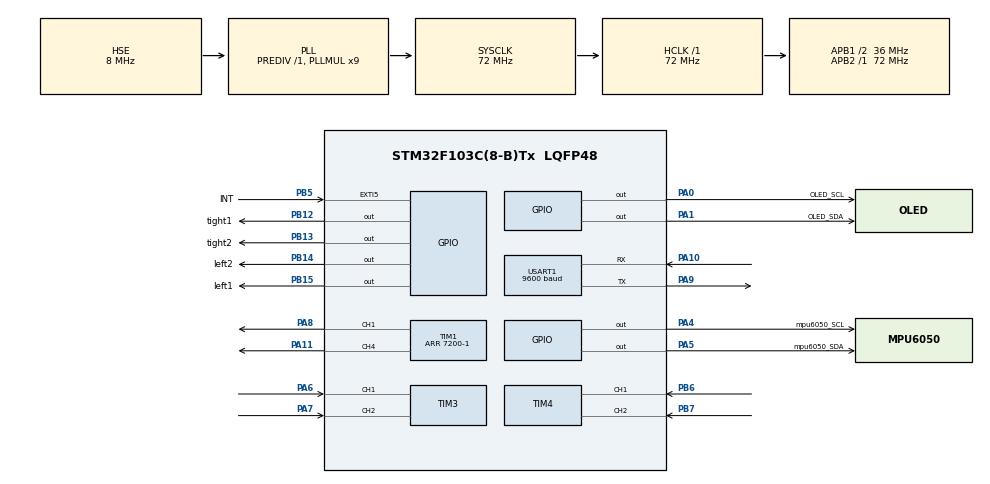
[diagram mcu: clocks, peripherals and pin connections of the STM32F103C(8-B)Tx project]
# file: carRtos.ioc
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Dma.Request0=USART1_RX
Dma.Request1=USART1_TX
Dma.USART1_RX.0.Direction=DMA_PERIPH_TO_MEMORY
Dma.USART1_RX.0.Instance=DMA1_Channel5
Dma.USART1_RX.0.MemDataAlignment=DMA_MDATAALIGN_BYTE
Dma.USART1_RX.0.MemInc=DMA_MINC_ENABLE
Dma.USART1_RX.0.Mode=DMA_NORMAL
Dma.USART1_RX.0.PeriphDataAlignment=DMA_PDATAALIGN_BYTE
Dma.USART1_RX.0.PeriphInc=DMA_PINC_DISABLE
Dma.USART1_RX.0.Priority=DMA_PRIORITY_LOW
Dma.USART1_TX.1.Direction=DMA_MEMORY_TO_PERIPH
Dma.USART1_TX.1.Instance=DMA1_Channel4
Dma.USART1_TX.1.MemDataAlignment=DMA_MDATAALIGN_BYTE
Dma.USART1_TX.1.MemInc=DMA_MINC_ENABLE
Dma.USART1_TX.1.Mode=DMA_NORMAL
Dma.USART1_TX.1.PeriphDataAlignment=DMA_PDATAALIGN_BYTE
Dma.USART1_TX.1.PeriphInc=DMA_PINC_DISABLE
Dma.USART1_TX.1.Priority=DMA_PRIORITY_LOW
FREERTOS.INCLUDE_uxTaskGetStackHighWaterMark=1
FREERTOS.INCLUDE_vTaskDelayUntil=1
FREERTOS.Queues01=myQueue01,1,float,0,Dynamic,NULL,NULL;myQueue02,1,float,0,Dynamic,NULL,NULL;myQueue03,1,float,0,Dynamic,NULL,NULL;myQueue04,1,short,0,Dynamic,NULL,NULL;myQueue05,1,short,0,Dynamic,NULL,NULL;myQueue06,1,short,0,Dynamic,NULL,NULL;myQueue07,1,int8_t,0,Dynamic,NULL,NULL
FREERTOS.Tasks01=defaultTask,0,128,StartDefaultTask,Default,NULL,Dynamic,NULL,NULL;LED1,3,200,StartTask02,Default,NULL,Dynamic,NULL,NULL;myTask03,-1,128,StartTask03,Default,NULL,Dynamic,NULL,NULL
FREERTOS.configTOTAL_HEAP_SIZE=3500
Mcu.Family=STM32F1
Mcu.Name=STM32F103C(8-B)Tx
Mcu.Package=LQFP48
NVIC.DMA1_Channel4_IRQn=true\:5\:0\:false\:false\:true\:true\:false\:true\:true
NVIC.DMA1_Channel5_IRQn=true\:5\:0\:false\:false\:true\:true\:false\:true\:true
NVIC.EXTI9_5_IRQn=true\:5\:0\:false\:false\:true\:true\:true\:true\:true
NVIC.PriorityGroup=NVIC_PRIORITYGROUP_4
NVIC.TIM2_IRQn=true\:15\:0\:false\:false\:true\:false\:false\:true\:true
NVIC.TIM3_IRQn=true\:5\:0\:false\:false\:true\:true\:true\:true\:true
NVIC.TIM4_IRQn=true\:5\:0\:false\:false\:true\:true\:true\:true\:true
NVIC.TimeBase=TIM2_IRQn
NVIC.TimeBaseIP=TIM2
NVIC.USART1_IRQn=true\:5\:0\:false\:false\:true\:true\:true\:true\:true
PA0-WKUP.GPIO_Label=OLED_SCL
PA0-WKUP.GPIO_ModeDefaultOutputPP=GPIO_MODE_OUTPUT_OD
PA0-WKUP.GPIO_PuPd=GPIO_PULLUP
PA0-WKUP.GPIO_Speed=GPIO_SPEED_FREQ_HIGH
PA0-WKUP.PinState=GPIO_PIN_SET
PA0-WKUP.Signal=GPIO_Output
PA1.GPIO_Label=OLED_SDA
PA1.GPIO_ModeDefaultOutputPP=GPIO_MODE_OUTPUT_OD
PA1.GPIO_PuPd=GPIO_PULLUP
PA1.GPIO_Speed=GPIO_SPEED_FREQ_HIGH
PA1.PinState=GPIO_PIN_SET
PA1.Signal=GPIO_Output
PA10.Mode=Asynchronous
PA10.Signal=USART1_RX
PA11.Signal=S_TIM1_CH4
PA4.GPIO_Label=mpu6050_SCL
PA4.GPIO_ModeDefaultOutputPP=GPIO_MODE_OUTPUT_OD
PA4.GPIO_PuPd=GPIO_PULLUP
PA4.GPIO_Speed=GPIO_SPEED_FREQ_HIGH
PA4.PinState=GPIO_PIN_SET
PA4.Signal=GPIO_Output
PA5.GPIO_Label=mpu6050_SDA
PA5.GPIO_ModeDefaultOutputPP=GPIO_MODE_OUTPUT_OD
PA5.GPIO_PuPd=GPIO_PULLUP
PA5.GPIO_Speed=GPIO_SPEED_FREQ_HIGH
PA5.PinState=GPIO_PIN_SET
PA5.Signal=GPIO_Output
PA6.Signal=S_TIM3_CH1
PA7.Signal=S_TIM3_CH2
PA8.Signal=S_TIM1_CH1
PA9.Mode=Asynchronous
PA9.Signal=USART1_TX
PB12.GPIO_Label=tight1
PB12.GPIO_PuPd=GPIO_PULLUP
PB12.GPIO_Speed=GPIO_SPEED_FREQ_LOW
PB12.Signal=GPIO_Output
PB13.GPIO_Label=tight2
PB13.GPIO_PuPd=GPIO_PULLUP
PB13.Signal=GPIO_Output
PB14.GPIO_Label=left2
PB14.GPIO_PuPd=GPIO_PULLUP
PB14.Signal=GPIO_Output
PB15.GPIO_Label=left1
PB15.GPIO_PuPd=GPIO_PULLUP
PB15.Signal=GPIO_Output
PB5.GPIO_Label=INT
PB5.GPIO_ModeDefaultEXTI=GPIO_MODE_IT_FALLING
PB5.GPIO_PuPd=GPIO_PULLUP
PB5.Signal=GPXTI5
PB6.Signal=S_TIM4_CH1
PB7.Signal=S_TIM4_CH2
PD0-OSC_IN.Mode=HSE-External-Oscillator
PD0-OSC_IN.Signal=RCC_OSC_IN
PD1-OSC_OUT.Mode=HSE-External-Oscillator
PD1-OSC_OUT.Signal=RCC_OSC_OUT
ProjectManager.HeapSize=0x200
ProjectManager.StackSize=0x400
ProjectManager.TargetToolchain=MDK-ARM V5.32
RCC.AHBFreq_Value=72000000
RCC.APB1CLKDivider=RCC_HCLK_DIV2
RCC.APB1Freq_Value=36000000
RCC.APB1TimFreq_Value=72000000
RCC.APB2Freq_Value=72000000
RCC.APB2TimFreq_Value=72000000
RCC.HCLKFreq_Value=72000000
RCC.PLLMUL=RCC_PLL_MUL9
RCC.PLLSourceVirtual=RCC_PLLSOURCE_HSE
RCC.SYSCLKFreq_VALUE=72000000
RCC.SYSCLKSource=RCC_SYSCLKSOURCE_PLLCLK
RCC.USBFreq_Value=72000000
SH.S_TIM1_CH1.0=TIM1_CH1,PWM Generation1 CH1
SH.S_TIM1_CH4.0=TIM1_CH4,PWM Generation4 CH4
SH.S_TIM3_CH1.0=TIM3_CH1,Encoder_Interface
SH.S_TIM3_CH2.0=TIM3_CH2,Encoder_Interface
SH.S_TIM4_CH1.0=TIM4_CH1,Encoder_Interface
SH.S_TIM4_CH2.0=TIM4_CH2,Encoder_Interface
TIM1.Channel-PWM\ Generation1\ CH1=TIM_CHANNEL_1
TIM1.Channel-PWM\ Generation4\ CH4=TIM_CHANNEL_4
TIM1.Period=7200-1
USART1.BaudRate=9600
USART1.VirtualMode=VM_ASYNC
VP_FREERTOS_VS_CMSIS_V1.Mode=CMSIS_V1
VP_SYS_VS_ND.Mode=No_Debug
VP_SYS_VS_tim2.Mode=TIM2
VP_TIM1_VS_ClockSourceINT.Mode=Internal
board=custom

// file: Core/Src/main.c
/* USER CODE BEGIN Header */
/**
  ******************************************************************************
  * @file           : main.c
  * @brief          : Main program body
  ******************************************************************************
  * @attention
  *
  * Copyright (c) 2024 STMicroelectronics.
  * All rights reserved.
  *
  * This software is licensed under terms that can be found in the LICENSE file
  * in the root directory of this software component.
  * If no LICENSE file comes with this software, it is provided AS-IS.
  *
  ******************************************************************************
  */
/* USER CODE END Header */
#include "main.h"
#include "cmsis_os.h"
#include "dma.h"
#include "tim.h"
#include "usart.h"
#include "gpio.h"

void SystemClock_Config(void);
void MX_FREERTOS_Init(void);

int main(void)
{

  /* MCU Configuration--------------------------------------------------------*/

  /* Reset of all peripherals, Initializes the Flash interface and the Systick. */
  HAL_Init();

  /* Configure the system clock */
  SystemClock_Config();

  /* Initialize all configured peripherals */
  MX_GPIO_Init();
  MX_DMA_Init();
  MX_TIM1_Init();
  MX_TIM3_Init();
  MX_TIM4_Init();
  MX_USART1_UART_Init();

  /* Call init function for freertos objects (in cmsis_os2.c) */
  MX_FREERTOS_Init();

  /* Start scheduler */
  osKernelStart();

  /* We should never get here as control is now taken by the scheduler */

  /* Infinite loop */
  while (1)
  {

  }
}

void SystemClock_Config(void)
{
  RCC_OscInitTypeDef RCC_OscInitStruct = {0};
  RCC_ClkInitTypeDef RCC_ClkInitStruct = {0};

  /** Initializes the RCC Oscillators according to the specified parameters
  * in the RCC_OscInitTypeDef structure.
  */
  RCC_OscInitStruct.OscillatorType = RCC_OSCILLATORTYPE_HSE;
  RCC_OscInitStruct.HSEState = RCC_HSE_ON;
  RCC_OscInitStruct.HSEPredivValue = RCC_HSE_PREDIV_DIV1;
  RCC_OscInitStruct.HSIState = RCC_HSI_ON;
  RCC_OscInitStruct.PLL.PLLState = RCC_PLL_ON;
  RCC_OscInitStruct.PLL.PLLSource = RCC_PLLSOURCE_HSE;
  RCC_OscInitStruct.PLL.PLLMUL = RCC_PLL_MUL9;
  if (HAL_RCC_OscConfig(&RCC_OscInitStruct) != HAL_OK)
  {
    Error_Handler();
  }

  /** Initializes the CPU, AHB and APB buses clocks
  */
  RCC_ClkInitStruct.ClockType = RCC_CLOCKTYPE_HCLK|RCC_CLOCKTYPE_SYSCLK
                              |RCC_CLOCKTYPE_PCLK1|RCC_CLOCKTYPE_PCLK2;
  RCC_ClkInitStruct.SYSCLKSource = RCC_SYSCLKSOURCE_PLLCLK;
  RCC_ClkInitStruct.AHBCLKDivider = RCC_SYSCLK_DIV1;
  RCC_ClkInitStruct.APB1CLKDivider = RCC_HCLK_DIV2;
  RCC_ClkInitStruct.APB2CLKDivider = RCC_HCLK_DIV1;

  if (HAL_RCC_ClockConfig(&RCC_ClkInitStruct, FLASH_LATENCY_2) != HAL_OK)
  {
    Error_Handler();
  }
}

void HAL_TIM_PeriodElapsedCallback(TIM_HandleTypeDef *htim)
{
  if (htim->Instance == TIM2) {
    HAL_IncTick();
  }
}

void Error_Handler(void)
{
  __disable_irq();
  while (1)
  {
  }
}

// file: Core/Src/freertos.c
/* USER CODE BEGIN Header */
/**
  ******************************************************************************
  * File Name          : freertos.c
  * Description        : Code for freertos applications
  ******************************************************************************
  * @attention
  *
  * Copyright (c) 2024 STMicroelectronics.
  * All rights reserved.
  *
  * This software is licensed under terms that can be found in the LICENSE file
  * in the root directory of this software component.
  * If no LICENSE file comes with this software, it is provided AS-IS.
  *
  ******************************************************************************
  */
/* USER CODE END Header */

#include "FreeRTOS.h"
#include "task.h"
#include "main.h"
#include "cmsis_os.h"

osThreadId defaultTaskHandle;
osThreadId LED1Handle;
osThreadId myTask03Handle;
osMessageQId myQueue01Handle;
osMessageQId myQueue02Handle;
osMessageQId myQueue03Handle;
osMessageQId myQueue04Handle;
osMessageQId myQueue05Handle;
osMessageQId myQueue06Handle;
osMessageQId myQueue07Handle;

void StartDefaultTask(void const * argument);
void StartTask02(void const * argument);
void StartTask03(void const * argument);

void MX_FREERTOS_Init(void); /* (MISRA C 2004 rule 8.1) */

/* GetIdleTaskMemory prototype (linked to static allocation support) */
void vApplicationGetIdleTaskMemory( StaticTask_t **ppxIdleTaskTCBBuffer, StackType_t **ppxIdleTaskStackBuffer, uint32_t *pulIdleTaskStackSize );

/* USER CODE BEGIN GET_IDLE_TASK_MEMORY */
static StaticTask_t xIdleTaskTCBBuffer;
static StackType_t xIdleStack[configMINIMAL_STACK_SIZE];

void vApplicationGetIdleTaskMemory( StaticTask_t **ppxIdleTaskTCBBuffer, StackType_t **ppxIdleTaskStackBuffer, uint32_t *pulIdleTaskStackSize )
{
  *ppxIdleTaskTCBBuffer = &xIdleTaskTCBBuffer;
  *ppxIdleTaskStackBuffer = &xIdleStack[0];
  *pulIdleTaskStackSize = configMINIMAL_STACK_SIZE;
  /* place for user code */
}
/* USER CODE END GET_IDLE_TASK_MEMORY */

void MX_FREERTOS_Init(void) {
  /* USER CODE BEGIN Init */
	OLED_Init();
	MPU_Init();
	mpu_dmp_init();
	HAL_TIM_Encoder_Start(&htim3,TIM_CHANNEL_ALL);
	HAL_TIM_Encoder_Start(&htim4,TIM_CHANNEL_ALL);
	HAL_TIM_PWM_Start(&htim1,TIM_CHANNEL_1);
	HAL_TIM_PWM_Start(&htim1,TIM_CHANNEL_4);
  /* USER CODE END Init */

  /* Create the queue(s) */
  /* definition and creation of myQueue01 */
  osMessageQDef(myQueue01, 1, float);
  myQueue01Handle = osMessageCreate(osMessageQ(myQueue01), NULL);

  /* definition and creation of myQueue02 */
  osMessageQDef(myQueue02, 1, float);
  myQueue02Handle = osMessageCreate(osMessageQ(myQueue02), NULL);

  /* definition and creation of myQueue03 */
  osMessageQDef(myQueue03, 1, float);
  myQueue03Handle = osMessageCreate(osMessageQ(myQueue03), NULL);

  /* definition and creation of myQueue04 */
  osMessageQDef(myQueue04, 1, short);
  myQueue04Handle = osMessageCreate(osMessageQ(myQueue04), NULL);

  /* definition and creation of myQueue05 */
  osMessageQDef(myQueue05, 1, short);
  myQueue05Handle = osMessageCreate(osMessageQ(myQueue05), NULL);

  /* definition and creation of myQueue06 */
  osMessageQDef(myQueue06, 1, short);
  myQueue06Handle = osMessageCreate(osMessageQ(myQueue06), NULL);

  /* definition and creation of myQueue07 */
  osMessageQDef(myQueue07, 1, int8_t);
  myQueue07Handle = osMessageCreate(osMessageQ(myQueue07), NULL);

  /* Create the thread(s) */
  /* definition and creation of defaultTask */
  osThreadDef(defaultTask, StartDefaultTask, osPriorityNormal, 0, 128);
  defaultTaskHandle = osThreadCreate(osThread(defaultTask), NULL);

  /* definition and creation of LED1 */
  osThreadDef(LED1, StartTask02, osPriorityRealtime, 0, 200);
  LED1Handle = osThreadCreate(osThread(LED1), NULL);

  /* definition and creation of myTask03 */
  osThreadDef(myTask03, StartTask03, osPriorityBelowNormal, 0, 128);
  myTask03Handle = osThreadCreate(osThread(myTask03), NULL);

}

void StartDefaultTask(void const * argument)
{
  /* USER CODE BEGIN StartDefaultTask */
	float pitch,roll,yaw; 		//欧拉角
	short gyrox,gyroy,gyroz;											 //陀螺仪原始数据
//	int16_t kk;
  /* Infinite loop */
  for(;;)
  {
		xQueueReceive(myQueue01Handle, &pitch, pdMS_TO_TICKS(50));
		xQueueReceive(myQueue02Handle, &roll, pdMS_TO_TICKS(50));
		xQueueReceive(myQueue03Handle, &yaw, pdMS_TO_TICKS(50));
		xQueueReceive(myQueue04Handle, &gyrox, pdMS_TO_TICKS(50));
		xQueueReceive(myQueue05Handle, &gyrox, pdMS_TO_TICKS(50));
		xQueueReceive(myQueue06Handle, &gyroz, pdMS_TO_TICKS(50));
//		xQueueReceive(myQueue07Handle, &kk, pdMS_TO_TICKS(50));

	  OLED_ShowSignedNum(2,2,pitch,4);
	  OLED_ShowSignedNum(3,2,roll,4);
	  OLED_ShowSignedNum(4,2,yaw,4);
	  OLED_ShowSignedNum(2,8,gyrox,4);
	  OLED_ShowSignedNum(3,8,gyroy,4);
	  OLED_ShowSignedNum(4,8,gyroz,4);
//	  OLED_ShowSignedNum(1,1,kk,4);
//		if(strcmp((char*)rx_buffer,"aaaa")==0){//若收到“hello”，发送“yes”
//			HAL_UART_Transmit_DMA(&huart1, "yes", 3);
//			OLED_ShowString(1,1,(char*)rx_buffer);

//			OLED_ShowChar(1,5,rx_buffer[0]);
//			OLED_ShowChar(1,7,rx_buffer[1]);
//			OLED_ShowChar(1,9,rx_buffer[2]);
//			OLED_ShowChar(1,11,rx_buffer[3]);
//			OLED_ShowChar(1,13,rx_buffer[4]);
			rx_len = 0;//清除计数
			recv_end_flag = 0;//清除接收结束标志位
			HAL_UART_Receive_DMA(&huart1,rx_buffer,BUFFER_SIZE);//重新打开DMA接收
//		}
    vTaskDelay(pdMS_TO_TICKS(10));
  }
  /* USER CODE END StartDefaultTask */
}

void StartTask02(void const * argument)
{
  /* USER CODE BEGIN StartTask02 */
	float pitch,roll,yaw; 		//欧拉角
	short gyrox,gyroy,gyroz;					 //陀螺仪原始数据
	int8_t Speed = 0;
	TickType_t pxPreviousWakeTime = xTaskGetTickCount();

	PID_TypeDef PID1 = {0};
	PID1.Kp = 318;//530//318
	PID1.Kd = 1.32;//2.2
	PID_TypeDef PID2 = {0};
	PID2.Kp = -0.2;//
	PID2.Ki = -0.001;//

	int16_t g_encoder_left,g_encoder_tight;
//	BaseType_t err1,err2,err3;
  /* Infinite loop */
  for(;;)
  {
		if(xQueueReceive(myQueue07Handle, &Speed, pdMS_TO_TICKS(1)) == errQUEUE_EMPTY)
			Speed = 0;
		if(mpu_dmp_get_data(&pitch,&roll,&yaw) == 0)
		{
			xQueueOverwrite(myQueue01Handle,&pitch);
			xQueueOverwrite(myQueue02Handle,&roll);
			xQueueOverwrite(myQueue03Handle,&yaw);
//			if((err1 || err2 || err3 ) == errQUEUE_FULL)
//				xQueueReset(myQueue01Handle);
//			vTaskDelay(500);
		}
		if(MPU_Get_Gyroscope(&gyrox,&gyroy,&gyroz) == 0)
		{
			xQueueOverwrite(myQueue04Handle,&gyrox);
			xQueueOverwrite(myQueue05Handle,&gyroy);
			xQueueOverwrite(myQueue06Handle,&gyroz);
//			if((err1 || err2 || err3 ) == errQUEUE_FULL)
//				xQueueReset(myQueue02Handle);
//			vTaskDelay(500);
		}
		Get_encoder(&g_encoder_left,&g_encoder_tight);
//			xQueueOverwrite(myQueue07Handle,&g_encoder_left);
//			xQueueOverwrite(myQueue08Handle,&gyroy);
		Set_PID_Speed(&PID2,Speed,g_encoder_left,g_encoder_tight);
		Set_PID_UP(&PID1,PID2.OUT+5,pitch,gyroy);
		Limit(&PID1.OUT);
		if(pitch > 40 | pitch < -40)
			PID1.OUT = 0;
		Load(PID1.OUT,PID1.OUT);
//			xQueueOverwrite(myQueue07Handle,&PID1.Kp);
    vTaskDelayUntil(&pxPreviousWakeTime,pdMS_TO_TICKS(10));
  }
  /* USER CODE END StartTask02 */
}

void StartTask03(void const * argument)
{
  /* USER CODE BEGIN StartTask03 */
  	int8_t Speed = 0;
  /* Infinite loop */
  for(;;)
  {
//	if(rx_buffer[0] == 0x00)
//	{
//		Speed = 0;
//	}
//	if(rx_buffer[0] == 0x01)
//	{
//		Speed = 2;
//	}
//	if(rx_buffer[0] == 0x02)
//	{
//		Speed = -2;
//	}
//	xQueueOverwrite(myQueue07Handle,&Speed);
//    vTaskDelay(pdMS_TO_TICKS(100));
  }

  /* USER CODE END StartTask03 */
}
